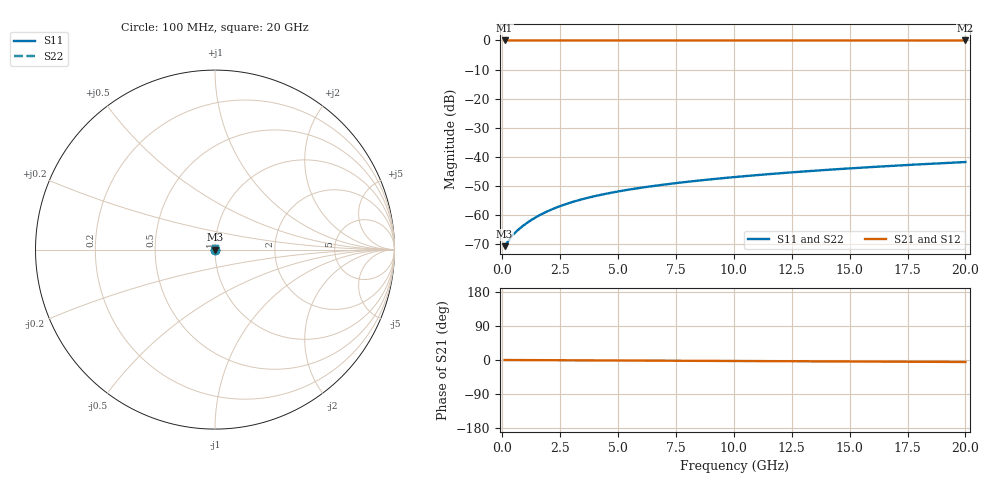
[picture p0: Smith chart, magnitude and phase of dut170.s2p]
! Touchstone file exported from HFSS 2026.1.0
!  File:  C:/ffzhzh/LocalFiles/Ansys_Project_Files/temp_train_TSV_170_1782991058_45328.aedt
!  Generated:  07:19:21 PM Jul  2, 2026
!  Design:  TSV
!  Project:  temp_train_TSV_170_1782991058_45328
! Variables:
!  h_bsmrdl = 2um
!  h_ox = 20um
!  h_rdl = 5um
!  h_sub = 52.64um
!  h_tmrdl = 5um
!  h_tsv = 52.64um
!  h_via = 3um
!  l_bsmrdl = 300um
!  l_sub = 409.94um
!  l_tmrdl = 200um
!  m_sub = 200um
!  pitch = 22.39um
!  r_tsv = 4.97um
!  s_tmrdl = 10um
!  w_bsmrdl = 18um
!  w_sub = 500um
!  w_tmrdl = 12um
!  x_tsv_center1 = 206um
!  x_tsv_center2 = 524um
!  x_tsv_center3 = 736um
!  x_tsv_center4 = 1054um
!  x_tsv_center5 = 1266um
!  x_tsv_center6 = 1584um
# GHz S MA R 50.000000
! Terminal data exported
! Port[1] = TSV1_1_T1
! Port[2] = TSV1_1_T2
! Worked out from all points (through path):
!   200 points, 100 MHz to 20 GHz, reference 50 ohm
!   highest |S21| = 0.00 dB at 100 MHz (marker M1); lowest = 0.0 dB at 20 GHz (marker M2)
!   lowest |S11| = -70.6 dB at 100 MHz (marker M3), VSWR 1.00, Z = 50 + j0.00795 ohm
!   |S11| at or under -10 dB: start of sweep to end of sweep
!   |S22| runs from -70.6 to -41.8 dB; largest |S21 - S12| = 1e-15
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0.1  0.0002939 15.7  0.9997 -0.0  0.9997 -0.0  0.0002939 15.7
! Gamma 0 0 0 0
! Port Impedance 50 0 50 0
0.3  0.000383 34.3  0.9997 -0.1  0.9997 -0.1  0.000383 34.3
0.4  0.000431 39.3  0.9997 -0.1  0.9997 -0.1  0.000431 39.3
0.6  0.0005228 46.5  0.9996 -0.2  0.9996 -0.2  0.0005228 46.5
0.8  0.0006133 51.7  0.9996 -0.2  0.9996 -0.2  0.0006133 51.7
1  0.0007057 55.7  0.9996 -0.3  0.9996 -0.3  0.0007057 55.7
1.2  0.0008003 58.8  0.9996 -0.3  0.9996 -0.3  0.0008003 58.8
1.4  0.0008968 61.2  0.9996 -0.4  0.9996 -0.4  0.0008968 61.2
1.8  0.001093 64.6  0.9995 -0.5  0.9995 -0.5  0.001093 64.6
2.3  0.001337 67.1  0.9995 -0.6  0.9995 -0.6  0.001337 67.1
2.9  0.001625 68.8  0.9994 -0.8  0.9994 -0.8  0.001625 68.8
3.5  0.001903 69.7  0.9994 -0.9  0.9994 -0.9  0.001903 69.7
4.2  0.002214 70.4  0.9993 -1.1  0.9993 -1.1  0.002214 70.4
5  0.002556 70.9  0.9992 -1.3  0.9992 -1.3  0.002556 70.9
5.8  0.002884 71.3  0.9991 -1.5  0.9991 -1.5  0.002884 71.3
6.8  0.003281 71.7  0.9991 -1.8  0.9991 -1.8  0.003281 71.7
8.3  0.003861 72.3  0.999 -2.2  0.999 -2.2  0.003861 72.3
10.1  0.004542 72.8  0.9989 -2.6  0.9989 -2.6  0.004542 72.8
11.7  0.005141 73.2  0.9988 -3.1  0.9988 -3.1  0.005141 73.2
13.4  0.005773 73.5  0.9987 -3.5  0.9987 -3.5  0.005773 73.5
16.7  0.006985 73.6  0.9985 -4.3  0.9985 -4.3  0.006985 73.6
20  0.008174 73.4  0.9984 -5.2  0.9984 -5.2  0.008174 73.4
